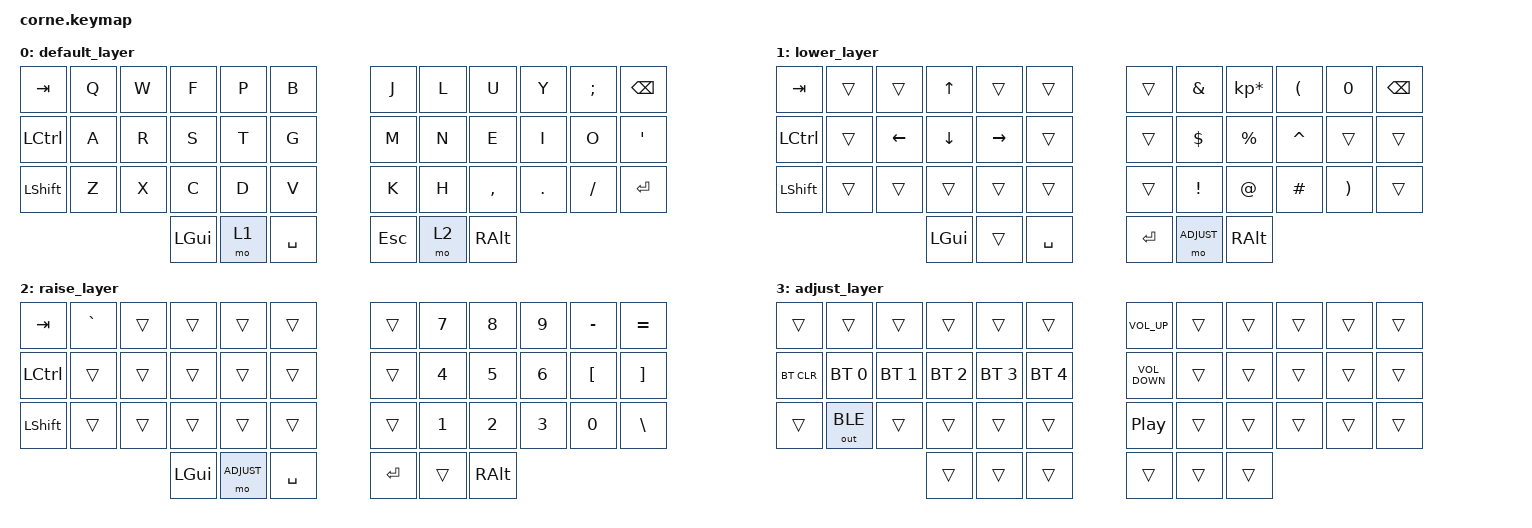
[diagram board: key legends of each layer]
/*
 * Copyright (c) 2020 The ZMK Contributors
 *
 * SPDX-License-Identifier: MIT
 */

#include <behaviors.dtsi>
#include <dt-bindings/zmk/keys.h>
#include <dt-bindings/zmk/bt.h>
#include <dt-bindings/zmk/outputs.h>

#define DEFAULT 0
#define LOWER   1
#define RAISE   2
#define ADJUST  3

/ {
        keymap {
                compatible = "zmk,keymap";

                default_layer {
// -----------------------------------------------------------------------------------------
// |  TAB |  Q  |  W  |  F  |  P  |  B  |   |  J  |  L   |  U  |  Y  |  ;  | BKSP |
// | CTRL |  A  |  R  |  S  |  T  |  G  |   |  M  |  N   |  E  |  I  |  O  |  '   |
// | SHFT |  Z  |  X  |  C  |  D  |  V  |   |  K  |  H   |  ,  |  .  |  /  | ENT  |
//                    | GUI | LWR | SPC |   | ESC | RSE  | ALT |
                        bindings = <
   &kp TAB   &kp Q &kp W &kp F &kp P &kp B   &kp J &kp L  &kp U     &kp Y   &kp SEMI    &kp BSPC
   &kp LCTRL &kp A &kp R &kp S &kp T &kp G   &kp M &kp N  &kp E     &kp I   &kp O &kp SQT
   &kp LSHFT &kp Z &kp X &kp C &kp D &kp V   &kp K &kp H  &kp COMMA &kp DOT &kp FSLH &kp RET
                  &kp LGUI &mo 1 &kp SPACE   &kp ESC &mo 2 &kp RALT
                        >;
                };
                lower_layer {
// -----------------------------------------------------------------------------------------
// |  TAB |     |     |  UP  |     |     |   |     |  &  |  *  |  (  |  0  | BKSP |
// | CTRL |     | LFT |  DWN | RGT |     |   |     |  $  | %   |  ^   |     |      |
// | SHFT |     |     |      |     |     |   |     |  !   | @    |  #   |   )  |      |
//                    | GUI  |     | SPC |   | ENT | MO3 | ALT |
                        bindings = <
   &kp TAB    &trans   &trans       &kp   UP     &trans     &trans         &trans   &kp AMPS   &kp KP_MULTIPLY &kp LPAR   &kp N0   &kp BSPC
   &kp LCTRL  &trans   &kp LEFT     &kp DOWN     &kp RIGHT  &trans         &trans   &kp DLLR   &kp PRCNT       &kp CARET &trans   &trans
   &kp LSHFT  &trans   &trans       &trans       &trans     &trans         &trans   &kp EXCL   &kp AT          &kp HASH  &kp RPAR &trans
                          	        &kp LGUI     &trans   &kp SPACE      &kp RET  &mo ADJUST &kp RALT
                        >;
                };

                raise_layer {
// -----------------------------------------------------------------------------------------
// |  TAB | `/~ |     |     |     |     |   |     |  7   |   8 |  9   |  -   | = |
// | CTRL |     |     |     |     |     |   |     |  4   |  5 |  6   |  [   |  ]   |
// | SHFT |     |     |     |     |     |   |     |  1   |  2  |   3   |  0    |  \   |
//                    | GUI | MO3 | SPC |   | ENT |     | ALT |
                        bindings = <
   &kp  TAB  &kp GRAVE &trans &trans   &trans   &trans      &trans    &kp N7    &kp N8  &kp N9 &kp MINUS &kp EQUAL
   &kp LCTRL &trans    &trans &trans   &trans   &trans      &trans    &kp N4    &kp N5  &kp N6 &kp LBKT  &kp RBKT
   &kp LSHFT &trans    &trans &trans   &trans   &trans      &trans    &kp N1    &kp N2  &kp N3 &kp N0    &kp BSLH
                    	     &kp LGUI &mo ADJUST   &kp SPACE   &kp RET   &trans    &kp RALT
                        >;
                };
                
                
                 adjust_layer {
// .--------------------------------------------------------.       .--------------------------------------------------------------.
// |         |        |        |        |         |         |       |  VOL+  |        |         |         |          |             |
// |---------+--------+--------+--------+---------+---------|       |--------+--------+---------+---------+----------+-------------|
// |  BTCLR  |  BT1   |  BT2   |  BT3   |  BT4    |  BT5    |       |  VOL-  |        |         |         |          |             |
// |---------+--------+--------+--------+---------+---------|       |--------+--------+---------+---------+----------+-------------|
// |         | OUT    |        |        |         |         |       |  PLAY  |        |         |         |          |             |
// '---------------------------+--------+---------+---------+       |--------+--------+---------+----------------------------------'
//                             |        |         |         |       |        |        |         |
//                             '--------+---------+---------'       '--------+--------+---------'

                        bindings = <
   &trans      &trans          &trans         &trans          &trans          &trans            &kp C_VOLUME_UP    &trans &trans &trans &trans &trans
   &bt BT_CLR  &bt BT_SEL 0    &bt BT_SEL 1   &bt BT_SEL 2    &bt BT_SEL 3    &bt BT_SEL 4      &kp C_VOLUME_DOWN  &trans &trans &trans &trans &trans
   &trans      &out OUT_BLE     &trans         &trans          &trans          &trans            &kp C_PLAY_PAUSE   &trans &trans &trans &trans &trans
                                   &trans &trans &trans   &trans &trans &trans
                        >;
                };
        };
};
